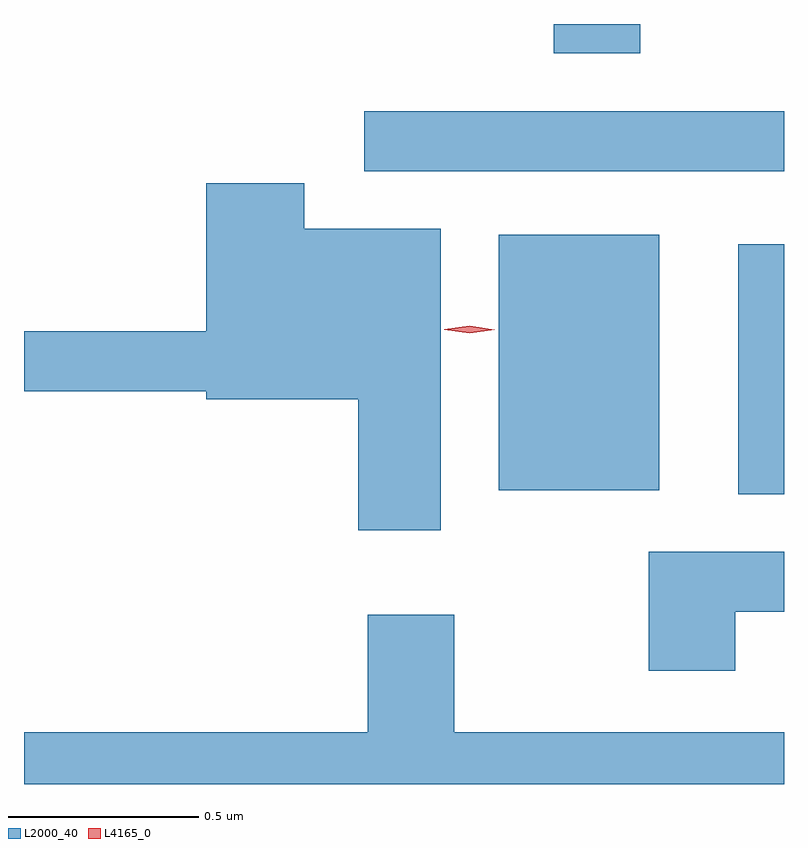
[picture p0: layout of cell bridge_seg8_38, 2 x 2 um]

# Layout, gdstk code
import gdstk
lib = gdstk.Library(unit=1e-6, precision=1e-09)
def R(c, l, rs):  # rectangles x0, y0, x1, y1
    for r in rs: c.add(gdstk.rectangle(r[:2], r[2:], *l))
def P(c, l, *ps):  # polygons
    for p in ps: c.add(gdstk.Polygon(p, *l))
L2000_40 = (2000, 40)
L4165_0 = (4165, 0)

bridge_seg8_38 = lib.new_cell('bridge_seg8_38')
R(bridge_seg8_38, L2000_40, [(1495.756,1937.211,1495.877,1937.869), (1495.126,1937.221,1495.549,1937.894), (1494.773,1938.061,1495.877,1938.219), (1495.271,1938.371,1495.499,1938.448)])
P(bridge_seg8_38, L2000_40, [(1494.974,1937.909),(1494.614,1937.909),(1494.614,1938.029),(1494.356,1938.029),(1494.356,1937.639),(1493.877,1937.639),(1493.877,1937.481),(1494.356,1937.481),(1494.356,1937.461),(1494.756,1937.461),(1494.756,1937.116),(1494.974,1937.116)],
  [(1495.749,1936.901),(1495.877,1936.901),(1495.877,1937.059),(1495.521,1937.059),(1495.521,1936.746),(1495.749,1936.746)],
  [(1495.877,1936.584),(1495.009,1936.584),(1495.009,1936.894),(1494.781,1936.894),(1494.781,1936.584),(1493.877,1936.584),(1493.877,1936.448),(1495.877,1936.448)])
P(bridge_seg8_38, L4165_0, [(1495.05,1937.634),(1494.983,1937.644),(1494.983,1937.645),(1494.983,1937.645),(1495.05,1937.654),(1495.116,1937.644),(1495.116,1937.644),(1495.116,1937.644)])

lib.write_gds('bridge_seg8_38.gds')
